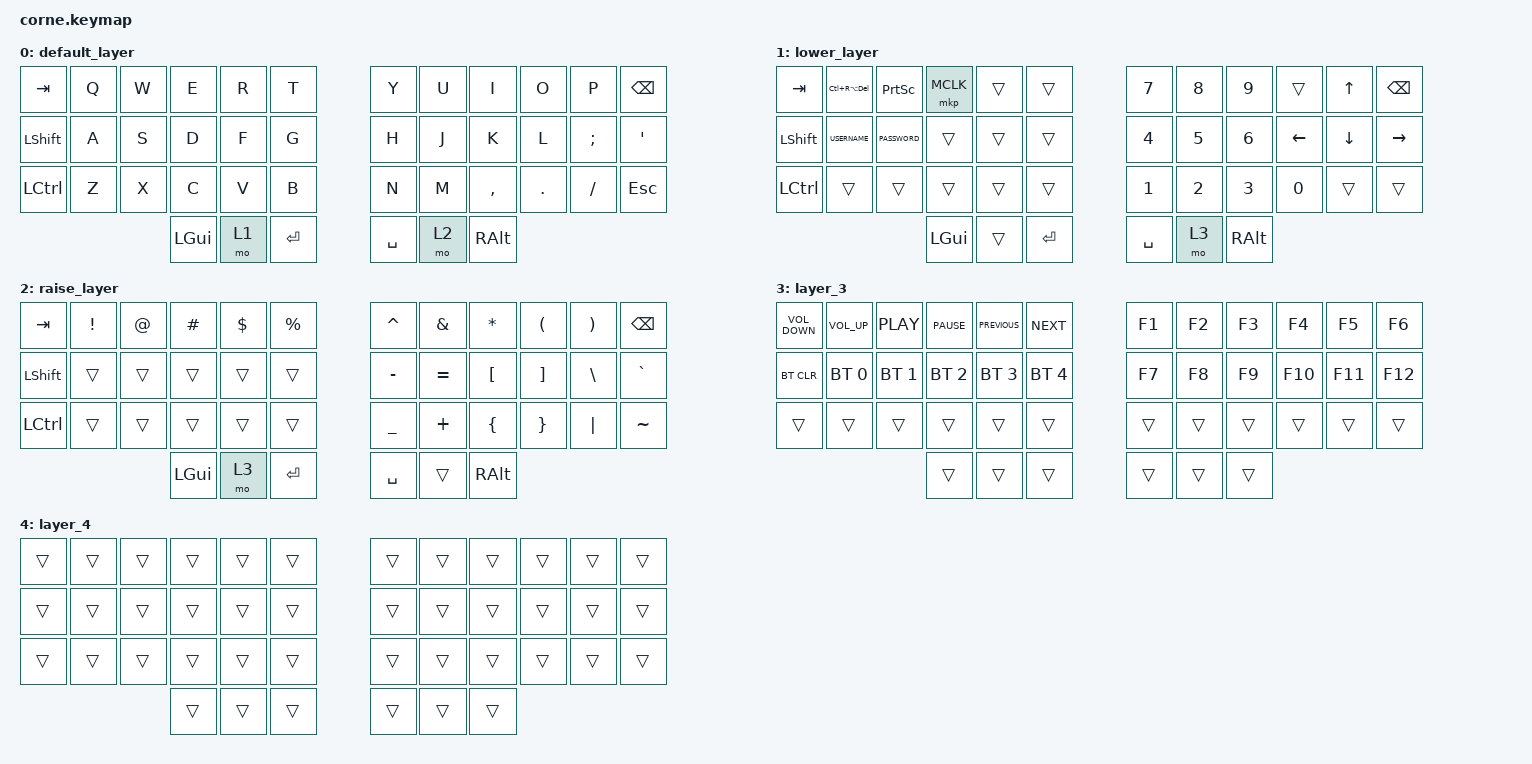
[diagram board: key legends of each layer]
/*
 * Copyright (c) 2020 The ZMK Contributors
 *
 * SPDX-License-Identifier: MIT
 */

#include <behaviors.dtsi>
#include <dt-bindings/zmk/bt.h>
#include <dt-bindings/zmk/keys.h>
#include <dt-bindings/zmk/mouse.h>

/ {
    macros {
        USERNAME: USERNAME {
            compatible = "zmk,behavior-macro";
            #binding-cells = <0>;
            bindings = <&kp E &kp F &kp A &kp L &kp C &kp O &kp N>;
            label = "USERNAME";
        };

        PASSWORD: PASSWORD {
            compatible = "zmk,behavior-macro";
            #binding-cells = <0>;
            bindings = <&kp DOLLAR &kp LS(P) &kp A &kp C &kp S &kp LS(E) &kp A &kp F &kp C &kp NUMBER_2 &kp N0 &kp NUMBER_2 &kp N0 &kp N0 &kp NUMBER_1 &kp NUMBER_1 &kp N7>;
            label = "PASSWORD";
        };
    };

    keymap {
        compatible = "zmk,keymap";

        default_layer {
            // -----------------------------------------------------------------------------------------
            // |  TAB |  Q  |  W  |  E  |  R  |  T  |   |  Y  |  U   |  I  |  O  |  P  | BSPC |
            // | CTRL |  A  |  S  |  D  |  F  |  G  |   |  H  |  J   |  K  |  L  |  ;  |  '   |
            // | SHFT |  Z  |  X  |  C  |  V  |  B  |   |  N  |  M   |  ,  |  .  |  /  | ESC  |
            //                    | GUI | LWR | SPC |   | ENT | RSE  | ALT |

            bindings = <
&kp TAB           &kp Q  &kp W  &kp E     &kp R  &kp T        &kp Y      &kp U  &kp I      &kp O    &kp P     &kp BSPC
&kp LEFT_SHIFT    &kp A  &kp S  &kp D     &kp F  &kp G        &kp H      &kp J  &kp K      &kp L    &kp SEMI  &kp SQT
&kp LEFT_CONTROL  &kp Z  &kp X  &kp C     &kp V  &kp B        &kp N      &kp M  &kp COMMA  &kp DOT  &kp FSLH  &kp ESC
                                &kp LGUI  &mo 1  &kp ENTER    &kp SPACE  &mo 2  &kp RALT
            >;
        };

        lower_layer {
            // -----------------------------------------------------------------------------------------
            // |  TAB |  1  |  2  |  3  |  4  |  5  |   |  6  |  7  |  8  |  9  |  0  | BSPC |
            // | BTCLR| BT1 | BT2 | BT3 | BT4 | BT5 |   | LFT | DWN |  UP | RGT |     |      |
            // | SHFT |     |     |     |     |     |   |     |     |     |     |     |      |
            //                    | GUI |     | SPC |   | ENT |     | ALT |

            bindings = <
&kp TAB           &kp LC(RA(DEL))  &kp PRINTSCREEN  &mkp MCLK  &trans  &trans     &kp N7        &kp N8        &kp N9        &trans          &kp UP_ARROW    &kp BSPC
&kp LEFT_SHIFT    &USERNAME        &PASSWORD        &trans     &trans  &trans     &kp NUMBER_4  &kp N5        &kp NUMBER_6  &kp LEFT_ARROW  &kp DOWN_ARROW  &kp RIGHT_ARROW
&kp LEFT_CONTROL  &trans           &trans           &trans     &trans  &trans     &kp NUMBER_1  &kp NUMBER_2  &kp NUMBER_3  &kp N0          &trans          &trans
                                                    &kp LGUI   &trans  &kp RET    &kp SPACE     &mo 3         &kp RALT
            >;
        };

        raise_layer {
            // -----------------------------------------------------------------------------------------
            // |  TAB |  !  |  @  |  #  |  $  |  %  |   |  ^  |  &  |  *  |  (  |  )  | BSPC |
            // | CTRL |     |     |     |     |     |   |  -  |  =  |  [  |  ]  |  \  |  `   |
            // | SHFT |     |     |     |     |     |   |  _  |  +  |  {  |  }  | "|" |  ~   |
            //                    | GUI |     | SPC |   | ENT |     | ALT |

            bindings = <
&kp TAB           &kp EXCL  &kp AT  &kp HASH  &kp DLLR  &kp PRCNT    &kp CARET  &kp AMPS   &kp ASTRK  &kp LPAR  &kp RPAR  &kp BSPC
&kp LEFT_SHIFT    &trans    &trans  &trans    &trans    &trans       &kp MINUS  &kp EQUAL  &kp LBKT   &kp RBKT  &kp BSLH  &kp GRAVE
&kp LEFT_CONTROL  &trans    &trans  &trans    &trans    &trans       &kp UNDER  &kp PLUS   &kp LBRC   &kp RBRC  &kp PIPE  &kp TILDE
                                    &kp LGUI  &mo 3     &kp RET      &kp SPACE  &trans     &kp RALT
            >;
        };

        layer_3 {
            bindings = <
&kp C_VOLUME_DOWN  &kp C_VOLUME_UP  &kp C_PLAY    &kp C_PAUSE   &kp C_PREVIOUS  &kp C_NEXT      &kp F1  &kp F2  &kp F3  &kp F4   &kp F5   &kp F6
&bt BT_CLR         &bt BT_SEL 0     &bt BT_SEL 1  &bt BT_SEL 2  &bt BT_SEL 3    &bt BT_SEL 4    &kp F7  &kp F8  &kp F9  &kp F10  &kp F11  &kp F12
&trans             &trans           &trans        &trans        &trans          &trans          &trans  &trans  &trans  &trans   &trans   &trans
                                                  &trans        &trans          &trans          &trans  &trans  &trans
            >;
        };

        layer_4 {
            bindings = <
&trans  &trans  &trans  &trans  &trans  &trans    &trans  &trans  &trans  &trans  &trans  &trans
&trans  &trans  &trans  &trans  &trans  &trans    &trans  &trans  &trans  &trans  &trans  &trans
&trans  &trans  &trans  &trans  &trans  &trans    &trans  &trans  &trans  &trans  &trans  &trans
                        &trans  &trans  &trans    &trans  &trans  &trans
            >;
        };
    };
};
